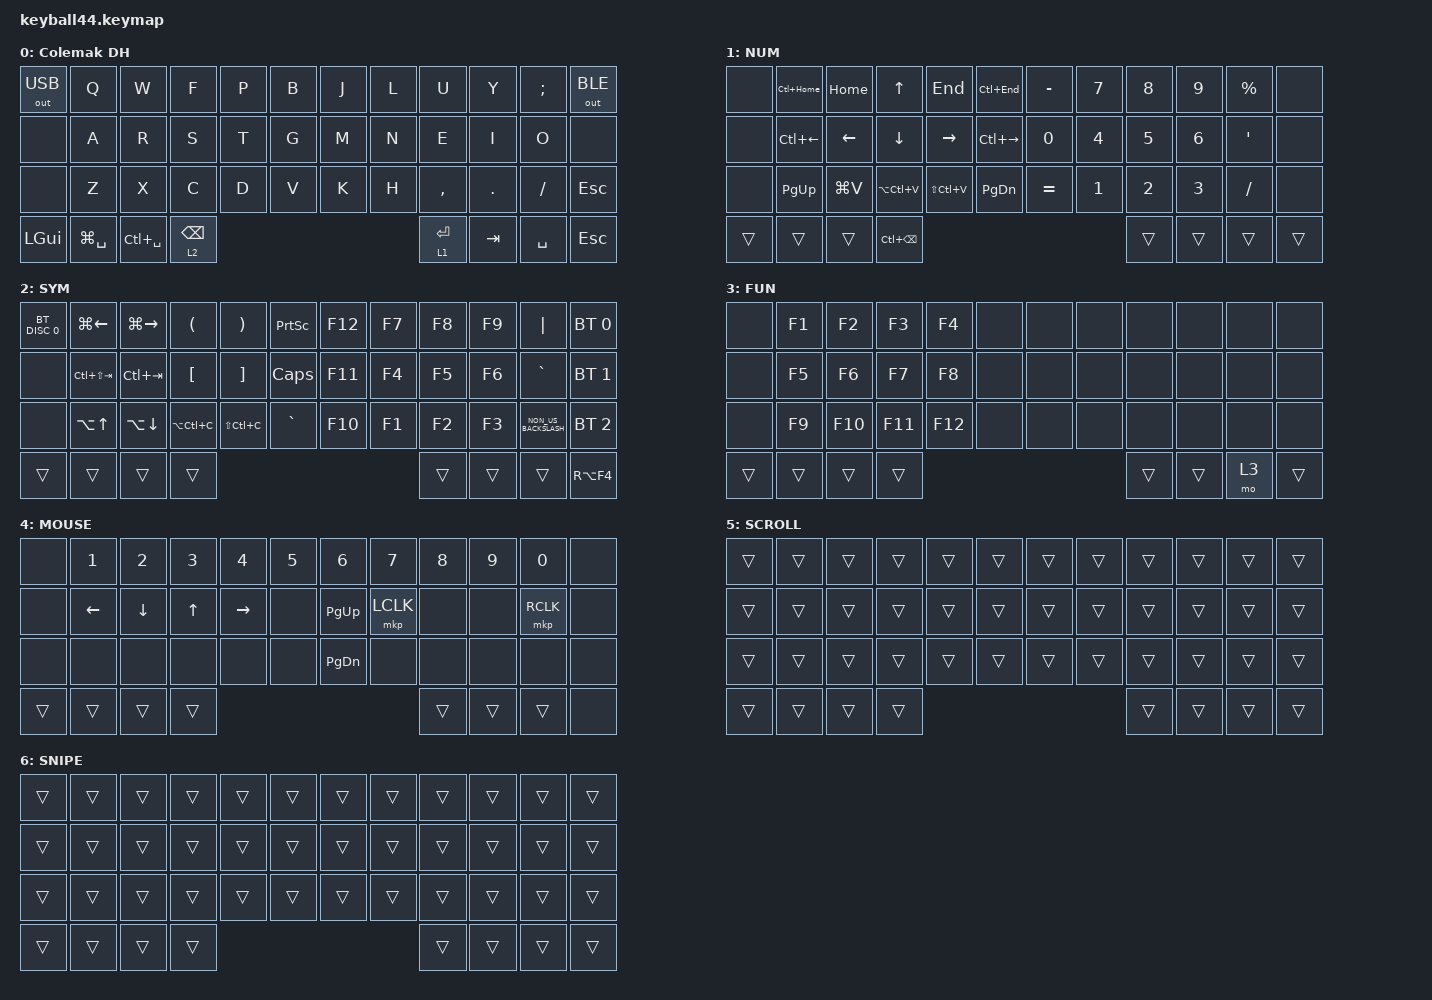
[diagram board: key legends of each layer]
#define DEFAULT 0
#define NUM     1
#define SYM     2
#define FUN     3
#define MOUSE   4
#define SCROLL  5
#define SNIPE   6

#include <behaviors/mouse_keys.dtsi>
#include <dt-bindings/zmk/mouse.h>
#include <behaviors.dtsi>
#include <dt-bindings/zmk/bt.h>
#include <dt-bindings/zmk/keys.h>
#include <dt-bindings/zmk/outputs.h>
#include <dt-bindings/zmk/pointing.h>

&nice_view_spi { cs-gpios = <&pro_micro 1 GPIO_ACTIVE_HIGH>; };

&lt {
    tapping-term-ms = <240>;
    flavor = "balanced";
    quick-tap-ms = <150>;
};

&mt {
    tapping-term-ms = <200>;
    flavor = "tap-preferred";
    quick-tap-ms = <150>;
};

&caps_word { continue-list = <UNDERSCORE MINUS>; };

/ {
    // custom shift using mod-morph 

    behaviors {
        cmqus: comma_question {
            compatible = "zmk,behavior-mod-morph";
            label = "COMMA_QUESTION";
            #binding-cells = <0>;
            bindings = <&kp COMMA>, <&kp QUESTION>;

            mods = <(MOD_LSFT|MOD_RSFT)>;
        };

        dtsmi: dot_semi {
            compatible = "zmk,behavior-mod-morph";
            label = "DOT_SEMI";
            #binding-cells = <0>;
            bindings = <&kp DOT>, <&kp SEMI>;

            mods = <(MOD_LSFT|MOD_RSFT)>;
        };
    };

    combos {
        compatible = "zmk,combos";

        ScrollDown {
            bindings = <&msc SCRL_DOWN>;
            key-positions = <20 21>;
        };

        RtShift {
            bindings = <&kp RIGHT_SHIFT>;
            key-positions = <19 20>;
        };

        RtCtl {
            bindings = <&kp RIGHT_CONTROL>;
            key-positions = <31 32>;
        };

        RtAlt {
            bindings = <&kp RIGHT_ALT>;
            key-positions = <32 33>;
        };

        RtWin {
            bindings = <&kp RIGHT_WIN>;
            key-positions = <34 33>;
        };

        LtShift {
            bindings = <&kp LEFT_SHIFT>;
            key-positions = <16 15>;
        };

        LtCtl {
            bindings = <&kp LEFT_CONTROL>;
            key-positions = <28 27>;
        };

        LtAlt {
            bindings = <&kp LEFT_ALT>;
            key-positions = <27 26>;
        };

        LtWin {
            bindings = <&kp LEFT_WIN>;
            key-positions = <25 26>;
        };

        ScrollUp {
            bindings = <&msc SCRL_UP>;
            key-positions = <8 9>;
        };
    };

    keymap {
        compatible = "zmk,keymap";

        default_layer {
            label = "Colemak DH";
            bindings = <
&out OUT_USB  &kp Q          &kp W          &kp F            &kp P        &kp B               &kp J      &kp L  &kp U      &kp Y    &kp SEMICOLON  &out OUT_BLE
&none         &kp A          &kp R          &kp S            &kp T        &kp G               &kp M      &kp N  &kp E      &kp I    &kp O          &none
&none         &kp Z          &kp X          &kp C            &kp D        &kp V               &kp K      &kp H  &kp COMMA  &kp DOT  &kp SLASH      &kp ESCAPE
&kp LGUI      &kp LG(SPACE)  &kp LC(SPACE)  &lt 2 BACKSPACE  &lt 1 ENTER             &kp TAB  &kp SPACE                                            &kp ESCAPE
            >;
        };

        number_layer {
            label = "NUM";
            bindings = <
&none   &kp LC(HOME)  &kp HOME   &kp UP_ARROW       &kp END        &kp LC(END)                &kp MINUS  &kp NUMBER_7  &kp NUMBER_8  &kp NUMBER_9  &kp PERCENT  &none
&none   &kp LC(LEFT)  &kp LEFT   &kp DOWN_ARROW     &kp RIGHT      &kp LC(RIGHT)              &kp N0     &kp NUMBER_4  &kp N5        &kp NUMBER_6  &kp SQT      &none
&none   &kp PAGE_UP   &kp LG(V)  &kp LA(LC(V))      &kp LS(LC(V))  &kp PAGE_DOWN              &kp EQUAL  &kp NUMBER_1  &kp NUMBER_2  &kp NUMBER_3  &kp SLASH    &none
&trans  &trans        &trans     &kp LC(BACKSPACE)  &trans                            &trans  &trans                                                            &trans
            >;
        };

        symbol_layer {
            label = "SYM";
            bindings = <
&bt BT_DISC 0  &kp LG(LEFT)      &kp LG(RIGHT)       &kp LEFT_PARENTHESIS  &kp RIGHT_PARENTHESIS  &kp PRINTSCREEN              &kp F12  &kp F7  &kp F8  &kp F9  &kp PIPE              &bt BT_SEL 0
&none          &kp LC(LS(TAB))   &kp LC(TAB)         &kp LEFT_BRACKET      &kp RIGHT_BRACKET      &kp CAPSLOCK                 &kp F11  &kp F4  &kp F5  &kp F6  &kp GRAVE             &bt BT_SEL 1
&none          &kp LA(UP_ARROW)  &kp LA(DOWN_ARROW)  &kp LA(LC(C))         &kp LS(LC(C))          &kp GRAVE                    &kp F10  &kp F1  &kp F2  &kp F3  &kp NON_US_BACKSLASH  &bt BT_SEL 2
&trans         &trans            &trans              &trans                &trans                                      &trans  &trans                                                 &kp RA(F4)
            >;
        };

        function_layer {
            label = "FUN";
            bindings = <
&none   &kp F1  &kp F2   &kp F3   &kp F4   &none              &none  &none  &none  &none  &none  &none
&none   &kp F5  &kp F6   &kp F7   &kp F8   &none              &none  &none  &none  &none  &none  &none
&none   &kp F9  &kp F10  &kp F11  &kp F12  &none              &none  &none  &none  &none  &none  &none
&trans  &trans  &trans   &trans   &trans              &trans  &mo 3                              &trans
            >;
        };

        mouse_layer {
            label = "MOUSE";
            bindings = <
&none   &kp N1          &kp N2          &kp N3        &kp N4     &kp N5              &kp N6         &kp N7     &kp N8  &kp N9  &kp N0     &none
&none   &kp LEFT_ARROW  &kp DOWN_ARROW  &kp UP_ARROW  &kp RIGHT  &none               &kp PAGE_UP    &mkp LCLK  &none   &none   &mkp RCLK  &none
&none   &none           &none           &none         &none      &none               &kp PAGE_DOWN  &none      &none   &none   &none      &none
&trans  &trans          &trans          &trans        &trans                 &trans  &trans                                               &none
            >;
        };

        scroll_layer {
            label = "SCROLL";
            bindings = <
&trans  &trans  &trans  &trans  &trans  &trans              &trans  &trans  &trans  &trans  &trans  &trans
&trans  &trans  &trans  &trans  &trans  &trans              &trans  &trans  &trans  &trans  &trans  &trans
&trans  &trans  &trans  &trans  &trans  &trans              &trans  &trans  &trans  &trans  &trans  &trans
&trans  &trans  &trans  &trans  &trans              &trans  &trans                                  &trans
            >;
        };

        snipe_layer {
            label = "SNIPE";
            bindings = <
&trans  &trans  &trans  &trans  &trans  &trans              &trans  &trans  &trans  &trans  &trans  &trans
&trans  &trans  &trans  &trans  &trans  &trans              &trans  &trans  &trans  &trans  &trans  &trans
&trans  &trans  &trans  &trans  &trans  &trans              &trans  &trans  &trans  &trans  &trans  &trans
&trans  &trans  &trans  &trans  &trans              &trans  &trans                                  &trans
            >;
        };
    };
};
